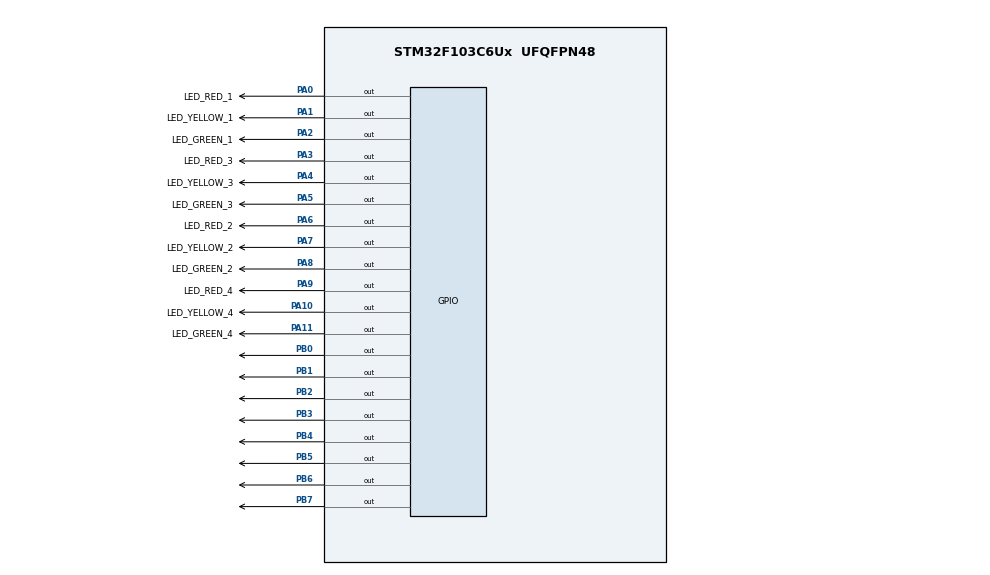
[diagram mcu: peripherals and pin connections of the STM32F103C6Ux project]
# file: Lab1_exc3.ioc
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Mcu.Family=STM32F1
Mcu.Name=STM32F103C6Ux
Mcu.Package=UFQFPN48
NVIC.PriorityGroup=NVIC_PRIORITYGROUP_4
PA0-WKUP.GPIO_Label=LED_RED_1
PA0-WKUP.Signal=GPIO_Output
PA1.GPIO_Label=LED_YELLOW_1
PA1.Signal=GPIO_Output
PA10.GPIO_Label=LED_YELLOW_4
PA10.Signal=GPIO_Output
PA11.GPIO_Label=LED_GREEN_4
PA11.Signal=GPIO_Output
PA2.GPIO_Label=LED_GREEN_1
PA2.Signal=GPIO_Output
PA3.GPIO_Label=LED_RED_3
PA3.Signal=GPIO_Output
PA4.GPIO_Label=LED_YELLOW_3
PA4.Signal=GPIO_Output
PA5.GPIO_Label=LED_GREEN_3
PA5.Signal=GPIO_Output
PA6.GPIO_Label=LED_RED_2
PA6.Signal=GPIO_Output
PA7.GPIO_Label=LED_YELLOW_2
PA7.Signal=GPIO_Output
PA8.GPIO_Label=LED_GREEN_2
PA8.Signal=GPIO_Output
PA9.GPIO_Label=LED_RED_4
PA9.Signal=GPIO_Output
PB0.Signal=GPIO_Output
PB1.Signal=GPIO_Output
PB2.Signal=GPIO_Output
PB3.Signal=GPIO_Output
PB4.Signal=GPIO_Output
PB5.Signal=GPIO_Output
PB6.Signal=GPIO_Output
PB7.Signal=GPIO_Output
ProjectManager.HeapSize=0x200
ProjectManager.StackSize=0x400
ProjectManager.TargetToolchain=STM32CubeIDE
RCC.APB1Freq_Value=8000000
RCC.APB2Freq_Value=8000000
VP_SYS_VS_ND.Mode=No_Debug
board=custom

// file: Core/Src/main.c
/* USER CODE BEGIN Header */
/**
  ******************************************************************************
  * @file           : main.c
  * @brief          : Main program body
  ******************************************************************************
  * @attention
  *
  * <h2><center>&copy; Copyright (c) 2026 STMicroelectronics.
  * All rights reserved.</center></h2>
  *
  * This software component is licensed by ST under BSD 3-Clause license,
  * the "License"; You may not use this file except in compliance with the
  * License. You may obtain a copy of the License at:
  *                        opensource.org/licenses/BSD-3-Clause
  *
  ******************************************************************************
  */
/* USER CODE END Header */
#include "main.h"

void SystemClock_Config(void);
static void MX_GPIO_Init(void);

void display7SEG(int num) {
    /* Mảng lưu mã HEX hiển thị các số từ 0-9 cho LED 7 đoạn Anode chung.
       Do nối Anode chung, mức 0 (RESET) sẽ làm đèn sáng.
       Thứ tự bit: g f e d c b a (bit 0 là đoạn a, bit 6 là đoạn g) */
    uint8_t seg7[10] = {0x40, 0x79, 0x24, 0x30, 0x19, 0x12, 0x02, 0x78, 0x00, 0x10};

    if (num >= 0 && num <= 9) {
        HAL_GPIO_WritePin(GPIOB, GPIO_PIN_0, (seg7[num] >> 0) & 0x01); // đoạn a
        HAL_GPIO_WritePin(GPIOB, GPIO_PIN_1, (seg7[num] >> 1) & 0x01); // đoạn b
        HAL_GPIO_WritePin(GPIOB, GPIO_PIN_2, (seg7[num] >> 2) & 0x01); // đoạn c
        HAL_GPIO_WritePin(GPIOB, GPIO_PIN_3, (seg7[num] >> 3) & 0x01); // đoạn d
        HAL_GPIO_WritePin(GPIOB, GPIO_PIN_4, (seg7[num] >> 4) & 0x01); // đoạn e
        HAL_GPIO_WritePin(GPIOB, GPIO_PIN_5, (seg7[num] >> 5) & 0x01); // đoạn f
        HAL_GPIO_WritePin(GPIOB, GPIO_PIN_6, (seg7[num] >> 6) & 0x01); // đoạn g
    }
}

int main(void)
{

  /* MCU Configuration--------------------------------------------------------*/

  /* Reset of all peripherals, Initializes the Flash interface and the Systick. */
  HAL_Init();

  /* Configure the system clock */
  SystemClock_Config();

  /* Initialize all configured peripherals */
  MX_GPIO_Init();

  /* Infinite loop */
  /* USER CODE BEGIN WHILE */
  while (1) {
      /* STATE 1: North-South Red | East-West Green (3s) */
      HAL_GPIO_WritePin(GPIOA, GPIO_PIN_0 | GPIO_PIN_6, GPIO_PIN_RESET); // North-South Red
      HAL_GPIO_WritePin(GPIOA, GPIO_PIN_5 | GPIO_PIN_11, GPIO_PIN_RESET); // East-West Green
      HAL_GPIO_WritePin(GPIOA, GPIO_PIN_1 | GPIO_PIN_7 | GPIO_PIN_2 | GPIO_PIN_8, GPIO_PIN_SET);
      HAL_GPIO_WritePin(GPIOA, GPIO_PIN_3 | GPIO_PIN_9 | GPIO_PIN_4 | GPIO_PIN_10, GPIO_PIN_SET);

      // Countdown 3 seconds
      for (int i = 3; i > 0; i--) {
          display7SEG(i);
          HAL_Delay(1000);
      }

      /* STATE 2: North-South Red | East-West Yellow (2s) */
      HAL_GPIO_WritePin(GPIOA, GPIO_PIN_5 | GPIO_PIN_11, GPIO_PIN_SET); // Turn off East-West Green
      HAL_GPIO_WritePin(GPIOA, GPIO_PIN_4 | GPIO_PIN_10, GPIO_PIN_RESET); // Turn on East-West Yellow

      // Countdown 2 seconds
      for (int i = 2; i > 0; i--) {
          display7SEG(i);
          HAL_Delay(1000);
      }

      /* STATE 3: North-South Green | East-West Red (3s) */
      HAL_GPIO_WritePin(GPIOA, GPIO_PIN_0 | GPIO_PIN_6, GPIO_PIN_SET); // Turn off North-South Red
      HAL_GPIO_WritePin(GPIOA, GPIO_PIN_2 | GPIO_PIN_8, GPIO_PIN_RESET); // Turn on North-South Green
      HAL_GPIO_WritePin(GPIOA, GPIO_PIN_4 | GPIO_PIN_10, GPIO_PIN_SET); // Turn off East-West Yellow
      HAL_GPIO_WritePin(GPIOA, GPIO_PIN_3 | GPIO_PIN_9, GPIO_PIN_RESET); // Turn on East-West Red

      // Countdown 3 seconds
      for (int i = 3; i > 0; i--) {
          display7SEG(i);
          HAL_Delay(1000);
      }

      /* STATE 4: North-South Yellow | East-West Red (2s) */
      HAL_GPIO_WritePin(GPIOA, GPIO_PIN_2 | GPIO_PIN_8, GPIO_PIN_SET); // Turn off North-South Green
      HAL_GPIO_WritePin(GPIOA, GPIO_PIN_1 | GPIO_PIN_7, GPIO_PIN_RESET); // Turn on North-South Yellow

      // Countdown 2 seconds
      for (int i = 2; i > 0; i--) {
          display7SEG(i);
          HAL_Delay(1000);
      }
    /* USER CODE END WHILE */

  }
}

void SystemClock_Config(void)
{
  RCC_OscInitTypeDef RCC_OscInitStruct = {0};
  RCC_ClkInitTypeDef RCC_ClkInitStruct = {0};

  /** Initializes the RCC Oscillators according to the specified parameters
  * in the RCC_OscInitTypeDef structure.
  */
  RCC_OscInitStruct.OscillatorType = RCC_OSCILLATORTYPE_HSI;
  RCC_OscInitStruct.HSIState = RCC_HSI_ON;
  RCC_OscInitStruct.HSICalibrationValue = RCC_HSICALIBRATION_DEFAULT;
  RCC_OscInitStruct.PLL.PLLState = RCC_PLL_NONE;
  if (HAL_RCC_OscConfig(&RCC_OscInitStruct) != HAL_OK)
  {
    Error_Handler();
  }
  /** Initializes the CPU, AHB and APB buses clocks
  */
  RCC_ClkInitStruct.ClockType = RCC_CLOCKTYPE_HCLK|RCC_CLOCKTYPE_SYSCLK
                              |RCC_CLOCKTYPE_PCLK1|RCC_CLOCKTYPE_PCLK2;
  RCC_ClkInitStruct.SYSCLKSource = RCC_SYSCLKSOURCE_HSI;
  RCC_ClkInitStruct.AHBCLKDivider = RCC_SYSCLK_DIV1;
  RCC_ClkInitStruct.APB1CLKDivider = RCC_HCLK_DIV1;
  RCC_ClkInitStruct.APB2CLKDivider = RCC_HCLK_DIV1;

  if (HAL_RCC_ClockConfig(&RCC_ClkInitStruct, FLASH_LATENCY_0) != HAL_OK)
  {
    Error_Handler();
  }
}

static void MX_GPIO_Init(void)
{
  GPIO_InitTypeDef GPIO_InitStruct = {0};

  /* GPIO Ports Clock Enable */
  __HAL_RCC_GPIOA_CLK_ENABLE();
  __HAL_RCC_GPIOB_CLK_ENABLE();

  /*Configure GPIO pin Output Level */
  HAL_GPIO_WritePin(GPIOA, LED_RED_1_Pin|LED_YELLOW_1_Pin|LED_GREEN_1_Pin|LED_RED_3_Pin
                          |LED_YELLOW_3_Pin|LED_GREEN_3_Pin|LED_RED_2_Pin|LED_YELLOW_2_Pin
                          |LED_GREEN_2_Pin|LED_RED_4_Pin|LED_YELLOW_4_Pin|LED_GREEN_4_Pin, GPIO_PIN_RESET);

  /*Configure GPIO pin Output Level */
  HAL_GPIO_WritePin(GPIOB, GPIO_PIN_0|GPIO_PIN_1|GPIO_PIN_2|GPIO_PIN_3
                          |GPIO_PIN_4|GPIO_PIN_5|GPIO_PIN_6|GPIO_PIN_7, GPIO_PIN_RESET);

  /*Configure GPIO pins : LED_RED_1_Pin LED_YELLOW_1_Pin LED_GREEN_1_Pin LED_RED_3_Pin
                           LED_YELLOW_3_Pin LED_GREEN_3_Pin LED_RED_2_Pin LED_YELLOW_2_Pin
                           LED_GREEN_2_Pin LED_RED_4_Pin LED_YELLOW_4_Pin LED_GREEN_4_Pin */
  GPIO_InitStruct.Pin = LED_RED_1_Pin|LED_YELLOW_1_Pin|LED_GREEN_1_Pin|LED_RED_3_Pin
                          |LED_YELLOW_3_Pin|LED_GREEN_3_Pin|LED_RED_2_Pin|LED_YELLOW_2_Pin
                          |LED_GREEN_2_Pin|LED_RED_4_Pin|LED_YELLOW_4_Pin|LED_GREEN_4_Pin;
  GPIO_InitStruct.Mode = GPIO_MODE_OUTPUT_PP;
  GPIO_InitStruct.Pull = GPIO_NOPULL;
  GPIO_InitStruct.Speed = GPIO_SPEED_FREQ_LOW;
  HAL_GPIO_Init(GPIOA, &GPIO_InitStruct);

  /*Configure GPIO pins : PB0 PB1 PB2 PB3
                           PB4 PB5 PB6 PB7 */
  GPIO_InitStruct.Pin = GPIO_PIN_0|GPIO_PIN_1|GPIO_PIN_2|GPIO_PIN_3
                          |GPIO_PIN_4|GPIO_PIN_5|GPIO_PIN_6|GPIO_PIN_7;
  GPIO_InitStruct.Mode = GPIO_MODE_OUTPUT_PP;
  GPIO_InitStruct.Pull = GPIO_NOPULL;
  GPIO_InitStruct.Speed = GPIO_SPEED_FREQ_LOW;
  HAL_GPIO_Init(GPIOB, &GPIO_InitStruct);

}

void Error_Handler(void)
{
  __disable_irq();
  while (1)
  {
  }
}

/************************ (C) COPYRIGHT STMicroelectronics *****END OF FILE****/
